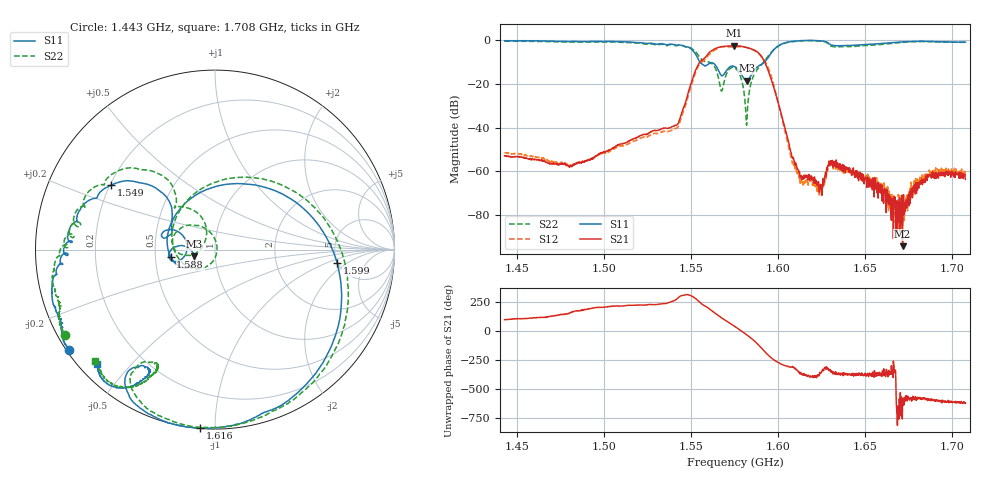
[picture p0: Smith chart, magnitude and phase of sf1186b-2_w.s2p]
!sf1186b-2, demo1,wide,bn,7/20/05
# HZ S RI R 50
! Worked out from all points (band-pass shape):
!   1601 points, 1.443 GHz to 1.708 GHz, reference 50 ohm
!   highest |S21| = -2.38 dB at 1.575 GHz (marker M1); lowest = -94.3 dB at 1.672 GHz (marker M2)
!   |S21| within 3 dB of the highest: 1.561 GHz to 1.588 GHz (27.59 MHz wide, 1.75 % of centre)
!   lowest |S11| = -18.4 dB at 1.582 GHz (marker M3), VSWR 1.27, Z = 39.6 - j3.01 ohm
!   |S11| at or under -10 dB: 1.555 GHz to 1.592 GHz (36.94 MHz wide, 2.35 % of centre)
!   |S22| runs from -38.8 to 0.0 dB; largest |S21 - S12| = 0.071
!   S11 on the Smith chart (normalised r, x): 1.443 GHz: 0.01, -0.31; 1.549 GHz: 0.21, +0.28; 1.588 GHz: 0.60, -0.05; 1.599 GHz: 4.94, -1.37; 1.616 GHz: 0.00, -0.92; 1.708 GHz: 0.05, -0.40
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1.44312e9  -0.8124 -0.5594  -0.000405 0.00224  -0.000348 0.00271  -0.8333 -0.4778
1.487275e9  -0.8571 -0.3873  -0.00155 2.72e-05  -0.00159 0.00029  -0.8629 -0.2946
1.53143e9  -0.8307 -0.0294  -0.0052 -0.00714  -0.00484 -0.00585  -0.7971 0.0686
1.542345e9  -0.767 0.1588  0.00257 -0.0115  0.00218 -0.00973  -0.7269 0.2389
1.549291e9  -0.5767 0.3602  0.0539 -0.0596  0.0493 -0.0486  -0.549 0.4346
1.55756e9  -0.2411 0.1246  -0.2727 -0.2648  -0.238 -0.2574  -0.2172 0.2507
1.563844e9  -0.2598 0.1111  -0.5984 0.2423  -0.583 0.1735  -0.114 0.2158
1.567813e9  -0.154 0.0164  -0.3094 0.6507  -0.3364 0.6314  -0.0638 0.0273
1.574759e9  -0.2551 -0.0182  0.512 0.5625  0.4612 0.5463  -0.2236 0.0875
1.57542e9  -0.2482 -0.00694  0.5731 0.4987  0.5194 0.4932  -0.2062 0.1055
1.5822e9  -0.1146 -0.0374  0.5958 -0.3468  0.6087 -0.3269  0.0103 -0.0072
1.588319e9  -0.2467 -0.0403  -0.1703 -0.5153  -0.1473 -0.5034  -0.2175 -0.0234
1.594273e9  0.1501 0.3669  -0.1984 0.0823  -0.2314 0.0901  0.1485 0.4029
1.598903e9  0.6802 -0.0738  -0.0122 0.0561  0.000946 0.0612  0.6772 0.0571
1.60866e9  0.2783 -0.9055  0.00114 0.00171  0.00106 0.00121  0.426 -0.8441
1.615772e9  -0.0818 -0.9938  0.000739 -0.000197  0.000599 -0.000128  0.0319 -0.9917
1.619575e9  -0.2325 -0.9727  0.000596 -0.000366  0.000568 -0.000302  -0.1455 -0.982
1.631317e9  -0.4245 -0.6528  0.00175 8.75e-05  0.00157 0.000391  -0.3707 -0.6266
1.66373e9  -0.4511 -0.7558  0.000248 0.000109  0.00026 0.000241  -0.4046 -0.7424
1.671668e9  -0.519 -0.7717  -1.36e-05 1.37e-05  -5.55e-05 1.57e-05  -0.4782 -0.7668
1.687875e9  -0.6418 -0.6992  -0.000476 0.000604  -0.000485 0.000755  -0.6295 -0.6977
1.70772e9  -0.6567 -0.6376  -0.000107 0.000647  -0.000113 0.000904  -0.6679 -0.6191
